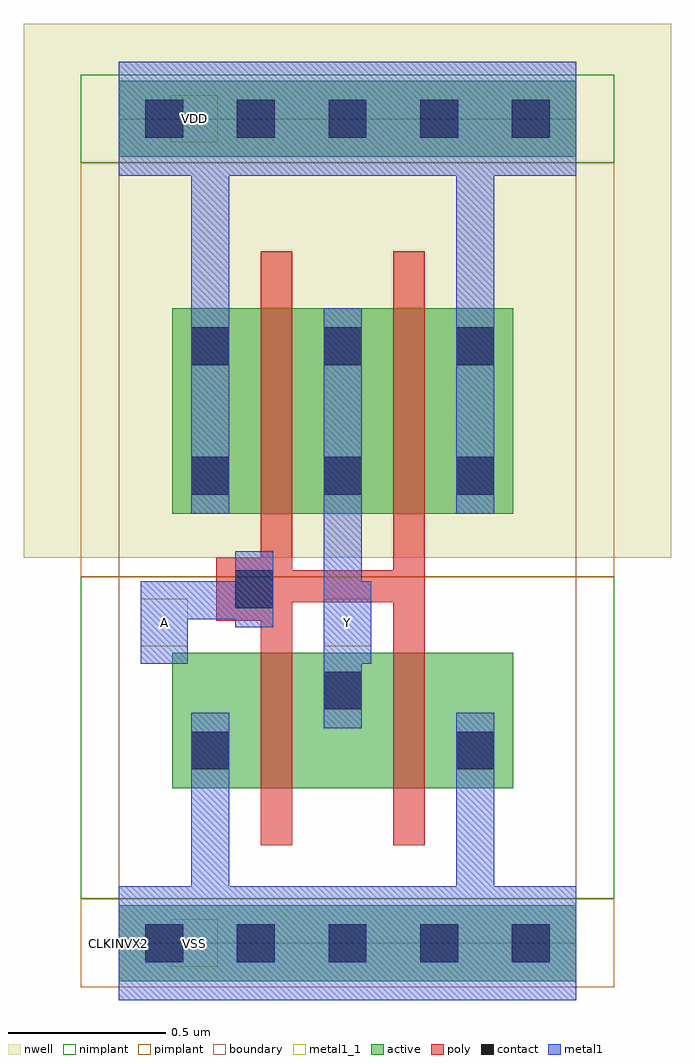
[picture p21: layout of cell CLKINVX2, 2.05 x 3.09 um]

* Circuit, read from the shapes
.subckt CLKINVX2 A VDD VSS Y
M1 Y A VSS VSS nfet w=0.43u l=0.1u m=2
M2 Y A VDD VDD pfet w=0.65u l=0.1u m=2
.ends

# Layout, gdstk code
import gdstk
lib = gdstk.Library(unit=1e-6, precision=5e-10)
def R(c, l, rs):  # rectangles x0, y0, x1, y1
    for r in rs: c.add(gdstk.rectangle(r[:2], r[2:], *l))
def A(c, l, x, y, w, h, nx, ny, dx, dy):  # array of equal rectangles
    R(c, l, [(x+i*dx, y+j*dy, x+i*dx+w, y+j*dy+h) for i in range(nx) for j in range(ny)])
active = (1, 0)
nwell = (2, 0)
poly = (3, 0)
nimplant = (4, 0)
pimplant = (5, 0)
contact = (6, 0)
metal1 = (7, 0)
metal1_1 = (7, 1)
boundary = (62, 0)

clkinvx2 = lib.new_cell('CLKINVX2')
R(clkinvx2, active, [(0,-0.12,1.45,0.12), (0.17,0.49,1.25,0.92), (0.17,1.36,1.25,2.01), (0,2.49,1.45,2.73)])
R(clkinvx2, nwell, [(-0.3,1.22,1.75,2.91)])
R(clkinvx2, poly, [(0.45,0.31,0.55,1.02), (0.87,0.31,0.97,1.08), (0.31,1.02,0.55,1.08), (0.31,1.08,0.97,1.18), (0.31,1.18,0.55,1.22), (0.87,1.18,0.97,2.19), (0.45,1.22,0.55,2.19)])
R(clkinvx2, nimplant, [(-0.12,0.14,1.57,1.16), (-0.12,2.47,1.57,2.75)])
R(clkinvx2, pimplant, [(-0.12,-0.14,1.57,0.14), (-0.12,1.16,1.57,2.47)])
A(clkinvx2, contact, 0.085, -0.06, 0.12, 0.12, 5, 2, 0.29, 2.61)
A(clkinvx2, contact, 0.23, 1.42, 0.12, 0.12, 3, 2, 0.42, 0.41)
R(clkinvx2, contact, [(0.23,0.55,0.35,0.67), (1.07,0.55,1.19,0.67), (0.65,0.74,0.77,0.86), (0.37,1.06,0.49,1.18)])
R(clkinvx2, metal1, [(0,-0.18,1.45,0.18), (0.23,0.18,0.35,0.73), (1.07,0.18,1.19,0.73), (0.65,0.68,0.77,0.885), (0.07,0.885,0.22,1.025), (0.65,0.885,0.8,1.145), (0.37,1,0.49,1.025), (0.07,1.025,0.49,1.145), (0.37,1.145,0.49,1.24), (0.65,1.145,0.77,2.01), (0.23,1.36,0.35,2.43), (1.07,1.36,1.19,2.43), (0,2.43,1.45,2.79)])
R(clkinvx2, metal1_1, [(0.165,-0.075,0.315,0.075), (0.07,0.94,0.22,1.09), (0.65,0.94,0.8,1.09), (0.165,2.535,0.315,2.685)])
R(clkinvx2, boundary, [(0,0,1.45,2.61)])
clkinvx2.add(gdstk.Label('CLKINVX2', (0,0), layer=63, texttype=0))
clkinvx2.add(gdstk.Label('VSS', (0.24,0), layer=7, texttype=3))
clkinvx2.add(gdstk.Label('VDD', (0.24,2.61), layer=7, texttype=3))
clkinvx2.add(gdstk.Label('A', (0.145,1.015), layer=7, texttype=3))
clkinvx2.add(gdstk.Label('Y', (0.725,1.015), layer=7, texttype=3))

lib.write_gds('CLKINVX2.gds')
